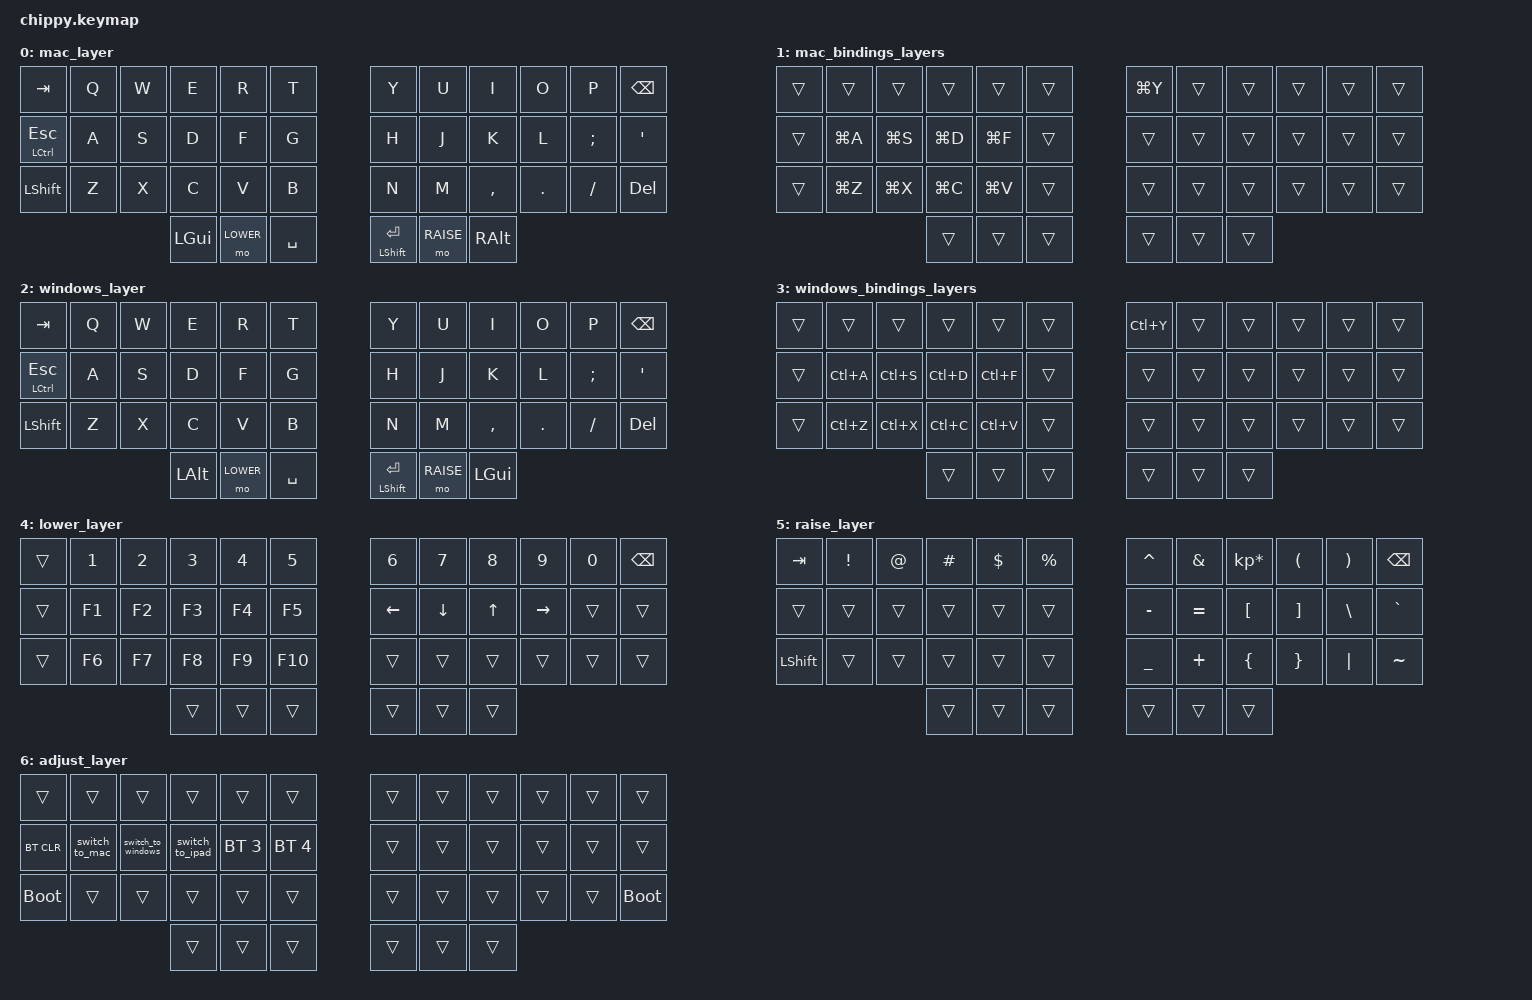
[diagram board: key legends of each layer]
/*
 * Copyright (c) 2020 The ZMK Contributors
 *
 * SPDX-License-Identifier: MIT
 */

#include <behaviors.dtsi>
#include <dt-bindings/zmk/keys.h>
#include <dt-bindings/zmk/bt.h>


#define MAC 0
#define MAC_BINDINGS 1
#define WINDOWS 2
#define WINDOWS_BINDINGS 3
#define LOWER   4
#define RAISE   5
#define ADJUST  6

#define LT0  5  // left-top row
#define LT1  4
#define LT2  3
#define LT3  2
#define LT4  1
#define LT5  0

#define RT0  6  // right-top row
#define RT1  7
#define RT2  8
#define RT3  9
#define RT4 10
#define RT5 11

#define LM0 17  // left-middle row
#define LM1 16
#define LM2 15
#define LM3 14
#define LM4 13
#define LM5 12

#define RM0 18  // right-middle row
#define RM1 19
#define RM2 20
#define RM3 21
#define RM4 22
#define RM5 23

#define LB0 29  // left-bottom row
#define LB1 28
#define LB2 27
#define LB3 26
#define LB4 25
#define LB5 24

#define RB0 30  // right-bottom row
#define RB1 31
#define RB2 32
#define RB3 33
#define RB4 34
#define RB5 35

#define LH0 38  // left thumb keys
#define LH1 37
#define LH2 36

#define RH0 39  // right thumb keys
#define RH1 40
#define RH2 41


/ {
        conditional_layers {
                compatible = "zmk,conditional-layers";
                        tri_layer {
                        if-layers = <LOWER RAISE>;
                        then-layer = <ADJUST>;
                };
        };

        macros {
                ZMK_MACRO(switch_to_mac, bindings= <&bt BT_SEL 0 &to MAC>;)
                ZMK_MACRO(switch_to_ipad, bindings= <&bt BT_SEL 2 &to MAC>;)
                ZMK_MACRO(switch_to_windows, bindings= <&bt BT_SEL 1 &to WINDOWS>;)

                win_app_sw: win_app_sw {
                        label = "WINDOWS_APP_SWITCHER";
                        compatible = "zmk,behavior-macro";
                        #binding-cells = <0>;
                        bindings
                                = <&macro_press &kp LALT>
                                , <&macro_tap &kp TAB>
                                , <&macro_press &mo LOWER>
                                , <&macro_pause_for_release>
                                , <&macro_release &mo LOWER>
                                , <&macro_release &kp LALT>
                                ;
                };     

                mac_app_sw: mac_app_sw {
                        label = "MAC_APP_SWITCHER";
                        compatible = "zmk,behavior-macro";
                        #binding-cells = <0>;
                        bindings
                                = <&macro_press &kp LGUI>
                                , <&macro_tap &kp TAB>
                                , <&macro_press &mo LOWER>
                                , <&macro_pause_for_release>
                                , <&macro_release &mo LOWER>
                                , <&macro_release &kp LGUI>
                                ;
                };  
        };

        combos {
                compatible = "zmk,combos";
                combo_spotlight {         
                        timeout-ms = <15>;
                        key-positions = <LH0 RH0>;
                        bindings = <&kp LG(SPACE)>;
                        layers = <MAC>;
                };

                combo_spotlight_windows {         
                        timeout-ms = <15>;
                        key-positions = <LH0 RH0>;
                        bindings = <&kp LA(SPACE)>;
                        layers = <WINDOWS>;
                };

                combo_app_switcher_windows {         
                        timeout-ms = <15>;
                        key-positions = <LM4 LM3 LM2 LM1>;
                        bindings = <&win_app_sw>;
                        layers = <WINDOWS>;
                };

                combo_copy_windows {         
                        timeout-ms = <15>;
                        key-positions = <LB3 LB2>;
                        bindings = <&kp LC(C)>;
                        layers = <WINDOWS>;
                };
                combo_paste_windows {         
                        timeout-ms = <15>;
                        key-positions = <LB2 LB1>;
                        bindings = <&kp LC(V)>;
                        layers = <WINDOWS>;
                };
                combo_cut_windows {         
                        timeout-ms = <15>;
                        key-positions = <LB3 LB1>;
                        bindings = <&kp LC(X)>;
                        layers = <WINDOWS>;
                };
                combo_undo_windows {         
                        timeout-ms = <15>;
                        key-positions = <LB4 LB3>;
                        bindings = <&kp LC(Z)>;
                        layers = <WINDOWS>;
                };
                combo_select_windows {         
                        timeout-ms = <15>;
                        key-positions = <LM4 LM1>;
                        bindings = <&kp LC(A)>;
                        layers = <WINDOWS>;
                };
                /*
                combo_save_windows {         
                        timeout-ms = <15>;
                        key-positions = <LM4 LM3>;
                        bindings = <&kp LC(S)>;
                        layers = <WINDOWS>;
                };*/
                combo_find_windows {         
                        timeout-ms = <15>;
                        key-positions = <LM2 LM1>;
                        bindings = <&kp LC(F)>;
                        layers = <WINDOWS>;
                };
                combo_close_window_windows {         
                        timeout-ms = <15>;
                        key-positions = <LT3 LT1>;
                        bindings = <&kp LC(W)>;
                        layers = <WINDOWS>;
                };
                
                combo_app_switcher_mac {         
                        timeout-ms = <15>;
                        key-positions = <LM4 LM3 LM2 LM1>;
                        bindings = <&mac_app_sw>;
                        layers = <MAC>;
                };
                
                combo_copy_mac {         
                        timeout-ms = <15>;
                        key-positions = <LB3 LB2>;
                        bindings = <&kp LG(C)>;
                        layers = <MAC>;
                };
                combo_paste_mac {         
                        timeout-ms = <15>;
                        key-positions = <LB2 LB1>;
                        bindings = <&kp LG(V)>;
                        layers = <MAC>;
                };
                combo_cut_mac {         
                        timeout-ms = <15>;
                        key-positions = <LB3 LB1>;
                        bindings = <&kp LG(X)>;
                        layers = <MAC>;
                };
                combo_undo_mac {         
                        timeout-ms = <15>;
                        key-positions = <LB4 LB3>;
                        bindings = <&kp LG(Z)>;
                        layers = <MAC>;
                };
                combo_select_mac {         
                        timeout-ms = <15>;
                        key-positions = <LM4 LM1>;
                        bindings = <&kp LG(A)>;
                        layers = <MAC>;
                };/*
                combo_save_mac {         
                        timeout-ms = <15>;
                        key-positions = <LM4 LM3>;
                        bindings = <&kp LG(S)>;
                        layers = <MAC>;
                };*/
                combo_find_mac {         
                        timeout-ms = <15>;
                        key-positions = <LM2 LM1>;
                        bindings = <&kp LG(F)>;
                        layers = <MAC>;
                };
                combo_close_window_mac {
                        timeout-ms = <15>;
                        key-positions = <LT3 LT1>;
                        bindings = <&kp LG(W)>;
                        layers = <MAC>;
                };
        };                      

        keymap {
                compatible = "zmk,keymap";

                mac_layer {
                        bindings = <
   &kp TAB          &kp Q &kp W &kp E &kp R &kp T   &kp Y &kp U  &kp I     &kp O   &kp P    &kp BSPC
   &mt LCTRL ESC    &kp A &kp S &kp D &kp F &kp G   &kp H &kp J  &kp K     &kp L   &kp SEMI &kp SQT
   &kp LSHFT        &kp Z &kp X &kp C &kp V &kp B   &kp N &kp M  &kp COMMA &kp DOT &kp FSLH &kp DEL
                     &kp LGUI &mo LOWER &kp SPACE   &mt LSHIFT RET &mo RAISE &kp RALT
                        >;      
                };
                
                mac_bindings_layers {
                        bindings = <
   &trans       &trans          &trans              &trans       &trans       &trans         &kp LG(Y) &trans &trans &trans &trans &trans
   &trans       &kp LG(A)       &kp LG(S)           &kp LG(D)    &kp LG(F)    &trans         &trans    &trans &trans &trans &trans &trans
   &trans       &kp LG(Z)       &kp LG(X)           &kp LG(C)    &kp LG(V)    &trans         &trans    &trans &trans &trans &trans &trans
                                                    &trans       &trans       &trans         &trans    &trans &trans
                        >;
                };

                windows_layer {
                        bindings = <
   &kp TAB         &kp Q &kp W &kp E &kp R &kp T   &kp Y &kp U  &kp I     &kp O   &kp P    &kp BSPC
   &mt LCTRL ESC   &kp A &kp S &kp D &kp F &kp G   &kp H &kp J  &kp K     &kp L   &kp SEMI &kp SQT
   &kp LSHFT       &kp Z &kp X &kp C &kp V &kp B   &kp N &kp M  &kp COMMA &kp DOT &kp FSLH &kp DEL
                    &kp LALT &mo LOWER &kp SPACE   &mt LSHIFT RET &mo RAISE &kp LGUI

                        >;
                };

                windows_bindings_layers {
                        bindings = <
   &trans        &trans          &trans          &trans       &trans       &trans         &kp LC(Y) &trans &trans &trans &trans &trans
   &trans        &kp LC(A)       &kp LC(S)       &kp LC(D)    &kp LC(F)    &trans         &trans    &trans &trans &trans &trans &trans
   &trans        &kp LC(Z)       &kp LC(X)       &kp LC(C)    &kp LC(V)    &trans         &trans    &trans &trans &trans &trans &trans
                          &trans       &trans       &trans                         &trans    &trans &trans
                        >;
                };
        
                lower_layer {
                        bindings = <
   &trans  &kp N1 &kp N2 &kp N3 &kp N4 &kp N5   &kp N6   &kp N7   &kp N8 &kp N9    &kp N0 &kp BSPC
   &trans  &kp F1 &kp F2 &kp F3 &kp F4 &kp F5   &kp LEFT &kp DOWN &kp UP &kp RIGHT &trans &trans
   &trans  &kp F6 &kp F7 &kp F8 &kp F9 &kp F10  &trans   &trans   &trans &trans    &trans &trans
                         &trans &trans &trans   &trans   &trans   &trans
                        >;
                };

                raise_layer {
                        bindings = <
   &kp  TAB  &kp EXCL &kp AT &kp HASH &kp DLLR &kp PRCNT   &kp CARET &kp AMPS  &kp KP_MULTIPLY &kp LPAR &kp RPAR &kp BSPC
   &trans    &trans   &trans &trans   &trans   &trans      &kp MINUS &kp EQUAL &kp LBKT        &kp RBKT &kp BSLH &kp GRAVE
   &kp LSHFT &trans   &trans &trans   &trans   &trans      &kp UNDER &kp PLUS  &kp LBRC        &kp RBRC &kp PIPE &kp TILDE
                             &trans   &trans   &trans      &trans    &trans    &trans
                        >;
                };
       
                adjust_layer {
                        bindings = <
   &trans       &trans          &trans              &trans          &trans       &trans         &trans &trans &trans &trans &trans &trans
   &bt BT_CLR   &switch_to_mac  &switch_to_windows  &switch_to_ipad &bt BT_SEL 3 &bt BT_SEL 4   &trans &trans &trans &trans &trans &trans
   &bootloader  &trans          &trans              &trans          &trans       &trans         &trans &trans &trans &trans &trans &bootloader
                                                    &trans          &trans       &trans         &trans &trans &trans
                        >;
                };       
        }; 
};
